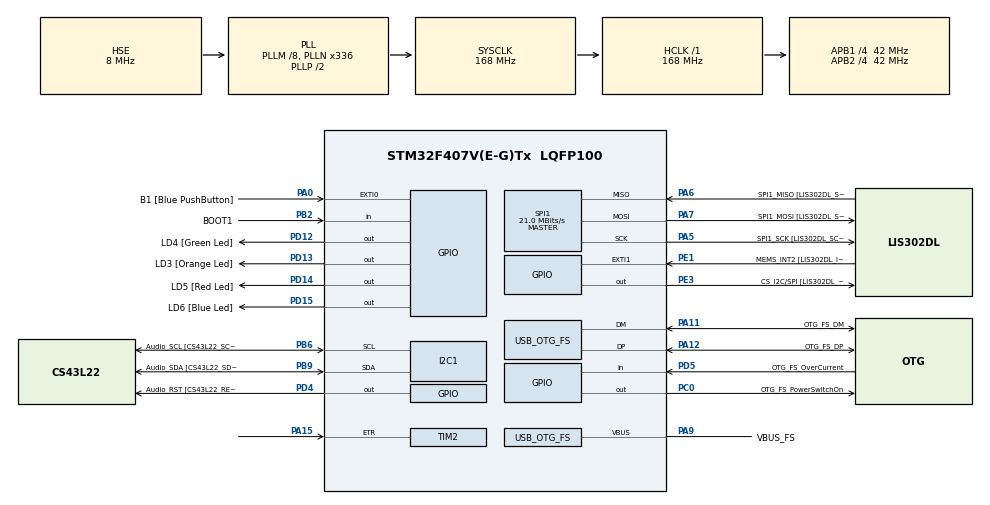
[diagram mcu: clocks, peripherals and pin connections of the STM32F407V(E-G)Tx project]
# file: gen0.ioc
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Mcu.Family=STM32F4
Mcu.Name=STM32F407V(E-G)Tx
Mcu.Package=LQFP100
NVIC.OTG_FS_IRQn=true\:0\:0\:false\:false\:true\:true\:true\:true
NVIC.PriorityGroup=NVIC_PRIORITYGROUP_0
NVIC.TIM1_BRK_TIM9_IRQn=true\:0\:0\:false\:false\:true\:true\:true\:true
PA0-WKUP.GPIO_Label=B1 [Blue PushButton]
PA0-WKUP.GPIO_ModeDefaultEXTI=GPIO_MODE_EVT_RISING
PA0-WKUP.GPIO_PuPd=GPIO_NOPULL
PA0-WKUP.Signal=GPXTI0
PA10.GPIO_Label=OTG_FS_ID
PA10.GPIO_Mode=GPIO_MODE_AF_PP
PA10.GPIO_PuPd=GPIO_NOPULL
PA10.GPIO_Speed=GPIO_SPEED_FREQ_LOW
PA10.Signal=USB_OTG_FS_ID
PA11.GPIO_Label=OTG_FS_DM
PA11.GPIO_Mode=GPIO_MODE_AF_PP
PA11.GPIO_PuPd=GPIO_NOPULL
PA11.GPIO_Speed=GPIO_SPEED_FREQ_LOW
PA11.Mode=Device_Only
PA11.Signal=USB_OTG_FS_DM
PA12.GPIO_Label=OTG_FS_DP
PA12.GPIO_Mode=GPIO_MODE_AF_PP
PA12.GPIO_PuPd=GPIO_NOPULL
PA12.GPIO_Speed=GPIO_SPEED_FREQ_LOW
PA12.Mode=Device_Only
PA12.Signal=USB_OTG_FS_DP
PA13.GPIO_Label=SWDIO
PA13.Mode=Serial_Wire
PA13.Signal=SYS_JTMS-SWDIO
PA14.GPIO_Label=SWCLK
PA14.Mode=Serial_Wire
PA14.Signal=SYS_JTCK-SWCLK
PA15.GPIO_PuPd=GPIO_PULLUP
PA15.GPIO_Speed=GPIO_SPEED_FREQ_VERY_HIGH
PA15.Signal=S_TIM2_CH1_ETR
PA4.GPIO_Label=I2S3_WS [CS43L22_LRCK]
PA4.GPIO_Mode=GPIO_MODE_AF_PP
PA4.GPIO_PuPd=GPIO_NOPULL
PA4.GPIO_Speed=GPIO_SPEED_FREQ_LOW
PA4.Signal=I2S3_WS
PA5.GPIO_Label=SPI1_SCK [LIS302DL_SCL/SPC]
PA5.GPIO_Mode=GPIO_MODE_AF_PP
PA5.GPIO_PuPd=GPIO_NOPULL
PA5.GPIO_Speed=GPIO_SPEED_FREQ_LOW
PA5.Mode=Full_Duplex_Master
PA5.Signal=SPI1_SCK
PA6.GPIO_Label=SPI1_MISO [LIS302DL_SDO]
PA6.GPIO_Mode=GPIO_MODE_AF_PP
PA6.GPIO_PuPd=GPIO_NOPULL
PA6.GPIO_Speed=GPIO_SPEED_FREQ_LOW
PA6.Mode=Full_Duplex_Master
PA6.Signal=SPI1_MISO
PA7.GPIO_Label=SPI1_MOSI [LIS302DL_SDA/SDI/SDO]
PA7.GPIO_Mode=GPIO_MODE_AF_PP
PA7.GPIO_PuPd=GPIO_NOPULL
PA7.GPIO_Speed=GPIO_SPEED_FREQ_LOW
PA7.Mode=Full_Duplex_Master
PA7.Signal=SPI1_MOSI
PA9.GPIO_Label=VBUS_FS
PA9.GPIO_Mode=GPIO_MODE_INPUT
PA9.GPIO_PuPd=GPIO_NOPULL
PA9.Mode=Activate_VBUS
PA9.Signal=USB_OTG_FS_VBUS
PB10.GPIO_Label=CLK_IN [MP45DT02_CLK]
PB10.GPIO_Mode=GPIO_MODE_AF_PP
PB10.GPIO_PuPd=GPIO_NOPULL
PB10.GPIO_Speed=GPIO_SPEED_FREQ_LOW
PB10.Signal=I2S2_CK
PB2.GPIO_Label=BOOT1
PB2.GPIO_Mode=GPIO_MODE_INPUT
PB2.GPIO_PuPd=GPIO_NOPULL
PB2.Signal=GPIO_Input
PB3.GPIO_Label=SWO
PB3.Signal=SYS_JTDO-SWO
PB6.GPIO_Label=Audio_SCL [CS43L22_SCL]
PB6.GPIO_Mode=GPIO_MODE_AF_OD
PB6.GPIO_Pu=GPIO_PULLUP
PB6.GPIO_PuPd=GPIO_NOPULL
PB6.GPIO_Speed=GPIO_SPEED_FREQ_LOW
PB6.Mode=I2C
PB6.Signal=I2C1_SCL
PB9.GPIO_Label=Audio_SDA [CS43L22_SDA]
PB9.GPIO_Mode=GPIO_MODE_AF_OD
PB9.GPIO_Pu=GPIO_PULLUP
PB9.GPIO_PuPd=GPIO_NOPULL
PB9.GPIO_Speed=GPIO_SPEED_FREQ_LOW
PB9.Mode=I2C
PB9.Signal=I2C1_SDA
PC0.GPIO_Label=OTG_FS_PowerSwitchOn
PC0.GPIO_PuPd=GPIO_NOPULL
PC0.GPIO_Speed=GPIO_SPEED_FREQ_LOW
PC0.PinState=GPIO_PIN_SET
PC0.Signal=GPIO_Output
PC10.GPIO_Label=I2S3_SCK [CS43L22_SCLK]
PC10.GPIO_Mode=GPIO_MODE_AF_PP
PC10.GPIO_PuPd=GPIO_NOPULL
PC10.GPIO_Speed=GPIO_SPEED_FREQ_LOW
PC10.Signal=I2S3_CK
PC12.GPIO_Label=I2S3_SD [CS43L22_SDIN]
PC12.GPIO_Mode=GPIO_MODE_AF_PP
PC12.GPIO_PuPd=GPIO_NOPULL
PC12.GPIO_Speed=GPIO_SPEED_FREQ_LOW
PC12.Signal=I2S3_SD
PC14-OSC32_IN.GPIO_Label=PC14-OSC32_IN
PC14-OSC32_IN.Mode=LSE-External-Oscillator
PC14-OSC32_IN.Signal=RCC_OSC32_IN
PC15-OSC32_OUT.GPIO_Label=PC15-OSC32_OUT
PC15-OSC32_OUT.Mode=LSE-External-Oscillator
PC15-OSC32_OUT.Signal=RCC_OSC32_OUT
PC3.GPIO_Label=PDM_OUT [MP45DT02_DOUT]
PC3.GPIO_Mode=GPIO_MODE_AF_PP
PC3.GPIO_PuPd=GPIO_NOPULL
PC3.GPIO_Speed=GPIO_SPEED_FREQ_LOW
PC3.Signal=I2S2_SD
PC7.GPIO_Label=I2S3_MCK [CS43L22_MCLK]
PC7.GPIO_Mode=GPIO_MODE_AF_PP
PC7.GPIO_PuPd=GPIO_NOPULL
PC7.GPIO_Speed=GPIO_SPEED_FREQ_LOW
PC7.Signal=I2S3_MCK
PD12.GPIO_Label=LD4 [Green Led]
PD12.GPIO_PuPd=GPIO_NOPULL
PD12.GPIO_Speed=GPIO_SPEED_FREQ_LOW
PD12.Signal=GPIO_Output
PD13.GPIO_Label=LD3 [Orange Led]
PD13.GPIO_PuPd=GPIO_NOPULL
PD13.GPIO_Speed=GPIO_SPEED_FREQ_LOW
PD13.Signal=GPIO_Output
PD14.GPIO_Label=LD5 [Red Led]
PD14.GPIO_PuPd=GPIO_NOPULL
PD14.GPIO_Speed=GPIO_SPEED_FREQ_LOW
PD14.Signal=GPIO_Output
PD15.GPIO_Label=LD6 [Blue Led]
PD15.GPIO_PuPd=GPIO_NOPULL
PD15.GPIO_Speed=GPIO_SPEED_FREQ_LOW
PD15.Signal=GPIO_Output
PD4.GPIO_Label=Audio_RST [CS43L22_RESET]
PD4.GPIO_PuPd=GPIO_NOPULL
PD4.GPIO_Speed=GPIO_SPEED_FREQ_LOW
PD4.Signal=GPIO_Output
PD5.GPIO_Label=OTG_FS_OverCurrent
PD5.GPIO_Mode=GPIO_MODE_INPUT
PD5.GPIO_PuPd=GPIO_NOPULL
PD5.Signal=GPIO_Input
PE1.GPIO_Label=MEMS_INT2 [LIS302DL_INT2]
PE1.GPIO_ModeDefaultEXTI=GPIO_MODE_EVT_RISING
PE1.GPIO_PuPd=GPIO_NOPULL
PE1.Signal=GPXTI1
PE3.GPIO_Label=CS_I2C/SPI [LIS302DL_CS_I2C/SPI]
PE3.GPIO_PuPd=GPIO_NOPULL
PE3.GPIO_Speed=GPIO_SPEED_FREQ_LOW
PE3.Signal=GPIO_Output
PH0-OSC_IN.GPIO_Label=PH0-OSC_IN
PH0-OSC_IN.Mode=HSE-External-Oscillator
PH0-OSC_IN.Signal=RCC_OSC_IN
PH1-OSC_OUT.GPIO_Label=PH1-OSC_OUT
PH1-OSC_OUT.Mode=HSE-External-Oscillator
PH1-OSC_OUT.Signal=RCC_OSC_OUT
ProjectManager.HeapSize=0x200
ProjectManager.StackSize=0x400
ProjectManager.TargetToolchain=STM32CubeIDE
RCC.48MHZClocksFreq_Value=48000000
RCC.AHBFreq_Value=168000000
RCC.APB1CLKDivider=RCC_HCLK_DIV4
RCC.APB1Freq_Value=42000000
RCC.APB1TimFreq_Value=84000000
RCC.APB2CLKDivider=RCC_HCLK_DIV4
RCC.APB2Freq_Value=42000000
RCC.APB2TimFreq_Value=84000000
RCC.CortexFreq_Value=168000000
RCC.HCLKFreq_Value=168000000
RCC.HSE_VALUE=8000000
RCC.HSI_VALUE=16000000
RCC.PLLM=8
RCC.PLLN=336
RCC.PLLQ=7
RCC.SYSCLKFreq_VALUE=168000000
RCC.SYSCLKSource=RCC_SYSCLKSOURCE_PLLCLK
RCC.VCOOutputFreq_Value=336000000
SH.S_TIM2_CH1_ETR.0=TIM2_ETR,ClockSourceETR_Mode2
SPI1.BaudRatePrescaler-Full_Duplex_Master=SPI_BAUDRATEPRESCALER_2
SPI1.CalculateBaudRate=21.0 MBits/s
SPI1.CalculateBaudRate-Full_Duplex_Master=42.0 MBits/s
SPI1.Direction=SPI_DIRECTION_2LINES
SPI1.Mode=SPI_MODE_MASTER
SPI1.Mode-Full_Duplex_Master=SPI_MODE_MASTER
SPI1.VirtualType=VM_MASTER
TIM2.AutoReloadPreload=TIM_AUTORELOAD_PRELOAD_ENABLE
TIM2.Period=360-1
TIM2.TIM_MasterOutputTrigger=TIM_TRGO_UPDATE
USB_DEVICE.APP_RX_DATA_SIZE-CDC_FS=1024
USB_DEVICE.APP_TX_DATA_SIZE-CDC_FS=2048
USB_DEVICE.CLASS_NAME_FS=CDC
USB_DEVICE.VirtualMode-CDC_FS=Cdc
USB_DEVICE.VirtualModeFS=Cdc_FS
USB_OTG_FS.VirtualMode=Device_Only
VP_TIM9_VS_ClockSourceINT.Mode=Internal
VP_USB_DEVICE_VS_USB_DEVICE_CDC_FS.Mode=CDC_FS
board=STM32F407G-DISC1

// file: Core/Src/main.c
/* USER CODE BEGIN Header */
/**
  ******************************************************************************
  * @file           : main.c
  * @brief          : Main program body
  ******************************************************************************
  * @attention
  *
  * Copyright (c) 2025 STMicroelectronics.
  * All rights reserved.
  *
  * This software is licensed under terms that can be found in the LICENSE file
  * in the root directory of this software component.
  * If no LICENSE file comes with this software, it is provided AS-IS.
  *
  ******************************************************************************
  */
/* USER CODE END Header */
#include "main.h"
#include "i2c.h"
#include "spi.h"
#include "tim.h"
#include "usb_device.h"
#include "gpio.h"

/* USER CODE BEGIN Includes */
/*
#include "stm32f4_discovery.h"
#include "stm32f4_discovery_accelerometer.h"
#include "lowpass.h"
*/
#include "usbd_cdc_if.h"
#include "uartSlave.h"
#include "UartSlaveAccel.h"

#include "stm32f4_discovery.h"
#include "stm32f4_discovery_accelerometer.h"

/* USER CODE END Includes */

/* USER CODE BEGIN PD */
#define IDX_X (0U)
#define IDX_Y (1U)
#define IDX_Z (2U)
#define UARTSLAVE_DEVICE_COUNT (1U)
/* USER CODE END PD */

/* USER CODE BEGIN PV */
uint8_t accelId = 0;
int16_t accelXYZ [3] = {0};
Lowpass_TypeDef accelX;
Lowpass_TypeDef accelY;
Lowpass_TypeDef accelZ;

uint32_t idxUartSlave;
uint32_t start_tick, end_tick;

uint8_t tim9_elapsed = 0;
uint8_t cdc_data_received = 0;
float time;

volatile uint32_t * const pTim2Counter = (volatile uint32_t *) 0x40000024;
uint32_t tim2Counter;

UartSlave_TypeDef * uartSlaveDevices [UARTSLAVE_DEVICE_COUNT];
uint32_t uartSlaveDeviceIdx;
UartSlaveAccel_TypeDef uartSlaveAccelDevice;
UartSlaveIo_TypeDef uartSlaveAccelDeviceIoContext
=
			{
					NULL,
					NULL,
					CDC_Transmit_FS,
					NULL
			};
/* USER CODE END PV */

void SystemClock_Config(void);

int main(void)
{

  /* USER CODE BEGIN 1 */
/*	lowpass_Init(&accelX, 0.02);
	lowpass_Init(&accelY, 0.02);
	lowpass_Init(&accelZ, 0.02);
	*/
//	uartSlaveAccelDeviceIoContext uartSlaveAccelIoContext =
//			{
//					NULL,
//					NULL,
//					CDC_Transmit_FS,
//					NULL
//			};
	UartSlaveAccel_Init (& uartSlaveAccelDevice, & uartSlaveAccelDeviceIoContext, 0x16U);
	uartSlaveDevices [0] = & uartSlaveAccelDevice.UartSlaveInstance;
  /* USER CODE END 1 */

  /* MCU Configuration--------------------------------------------------------*/

  /* Reset of all peripherals, Initializes the Flash interface and the Systick. */
  HAL_Init();

  /* USER CODE BEGIN Init */
  // BSP_ACCELERO_Init();
  /* USER CODE END Init */

  /* Configure the system clock */
  SystemClock_Config();

  /* USER CODE BEGIN SysInit */
  HAL_RCC_GetHCLKFreq();
  HAL_Delay(1000);
  CoreDebug->DEMCR |= CoreDebug_DEMCR_TRCENA_Msk;
  DWT->CYCCNT = 0;
  DWT->CTRL = DWT_CTRL_CYCCNTENA_Msk;
  /* USER CODE END SysInit */

  /* Initialize all configured peripherals */
  MX_GPIO_Init();
  MX_I2C1_Init();
  MX_SPI1_Init();
  MX_TIM9_Init();
  MX_USB_DEVICE_Init();
  MX_TIM2_Init();
  /* USER CODE BEGIN 2 */
  BSP_ACCELERO_Init();
  HAL_TIM_Base_Init(&htim9);
  HAL_TIM_Base_Start_IT(&htim9);
  accelId = BSP_ACCELERO_ReadID();

//  HAL_TIM_Encoder_Start(&htim1, TIM_CHANNEL_1);
  HAL_TIM_Base_Start(&htim2);
  /* USER CODE END 2 */

  /* Infinite loop */
  /* USER CODE BEGIN WHILE */
  HAL_GetTick();
  while (1)
  {
    /* USER CODE END WHILE */

    /* USER CODE BEGIN 3 */
	  tim2Counter = * pTim2Counter;

    if ( tim9_elapsed || cdc_data_received)
    {

//        BSP_ACCELERO_GetXYZ(&accelXYZ[0]);
//
//        lowpass_update(&accelX, (float)accelXYZ[IDX_X]);
//        lowpass_update(&accelY, (float)accelXYZ[IDX_Y]);
//        lowpass_update(&accelZ, (float)accelXYZ[IDX_Z]);
//        end_tick = DWT->CYCCNT;
//        time = (float)(end_tick-   start_tick)/(SystemCoreClock/1000.0);

    	tim9_elapsed = 0;
    	cdc_data_received = 0;
    	HAL_GPIO_TogglePin(LD3_GPIO_Port, LD3_Pin);

    	uartSlaveDevices [0] -> pfvStateMachine (uartSlaveDevices [0] );

    	end_tick  = DWT->CYCCNT;
    	time = (end_tick - start_tick)/(SystemCoreClock/1000.0);

    }
    //HAL_Delay(1500);
  }
  /* USER CODE END 3 */
}

void SystemClock_Config(void)
{
  RCC_OscInitTypeDef RCC_OscInitStruct = {0};
  RCC_ClkInitTypeDef RCC_ClkInitStruct = {0};

  /** Configure the main internal regulator output voltage
  */
  __HAL_RCC_PWR_CLK_ENABLE();
  __HAL_PWR_VOLTAGESCALING_CONFIG(PWR_REGULATOR_VOLTAGE_SCALE1);

  /** Initializes the RCC Oscillators according to the specified parameters
  * in the RCC_OscInitTypeDef structure.
  */
  RCC_OscInitStruct.OscillatorType = RCC_OSCILLATORTYPE_HSE;
  RCC_OscInitStruct.HSEState = RCC_HSE_ON;
  RCC_OscInitStruct.PLL.PLLState = RCC_PLL_ON;
  RCC_OscInitStruct.PLL.PLLSource = RCC_PLLSOURCE_HSE;
  RCC_OscInitStruct.PLL.PLLM = 8;
  RCC_OscInitStruct.PLL.PLLN = 336;
  RCC_OscInitStruct.PLL.PLLP = RCC_PLLP_DIV2;
  RCC_OscInitStruct.PLL.PLLQ = 7;
  if (HAL_RCC_OscConfig(&RCC_OscInitStruct) != HAL_OK)
  {
    Error_Handler();
  }

  /** Initializes the CPU, AHB and APB buses clocks
  */
  RCC_ClkInitStruct.ClockType = RCC_CLOCKTYPE_HCLK|RCC_CLOCKTYPE_SYSCLK
                              |RCC_CLOCKTYPE_PCLK1|RCC_CLOCKTYPE_PCLK2;
  RCC_ClkInitStruct.SYSCLKSource = RCC_SYSCLKSOURCE_PLLCLK;
  RCC_ClkInitStruct.AHBCLKDivider = RCC_SYSCLK_DIV1;
  RCC_ClkInitStruct.APB1CLKDivider = RCC_HCLK_DIV4;
  RCC_ClkInitStruct.APB2CLKDivider = RCC_HCLK_DIV4;

  if (HAL_RCC_ClockConfig(&RCC_ClkInitStruct, FLASH_LATENCY_5) != HAL_OK)
  {
    Error_Handler();
  }
}

/* USER CODE BEGIN 4 */
/**
  * @brief  Period elapsed callback in non-blocking mode
  * @param  htim TIM handle
  * @retval None
  */
void HAL_TIM_PeriodElapsedCallback(TIM_HandleTypeDef *htim)
{
  /* Prevent unused argument(s) compilation warning */
  UNUSED(htim);

  /* NOTE : This function should not be modified, when the callback is needed,
            the HAL_TIM_PeriodElapsedCallback could be implemented in the user file
   */

  if (&htim9 == htim)
  {

  	//start_tick = DWT->CYCCNT;
	  tim9_elapsed = 1;
	  start_tick = DWT->CYCCNT;

  }

}

void USB_CDC_RxHandler(uint8_t*pBuffer, uint32_t Length)
{
	// Only uart Slave is in cdc
	RingBuffer_Write_XBit(&uartSlaveAccelDevice.UartSlaveInstance.rxBufferManager, pBuffer, Length);
//	tim9_elapsed = 1;
	cdc_data_received = 1;

	HAL_GPIO_TogglePin(LD4_GPIO_Port, LD4_Pin);
}

/* USER CODE END 4 */

void Error_Handler(void)
{
  __disable_irq();
  while (1)
  {
  }
}
